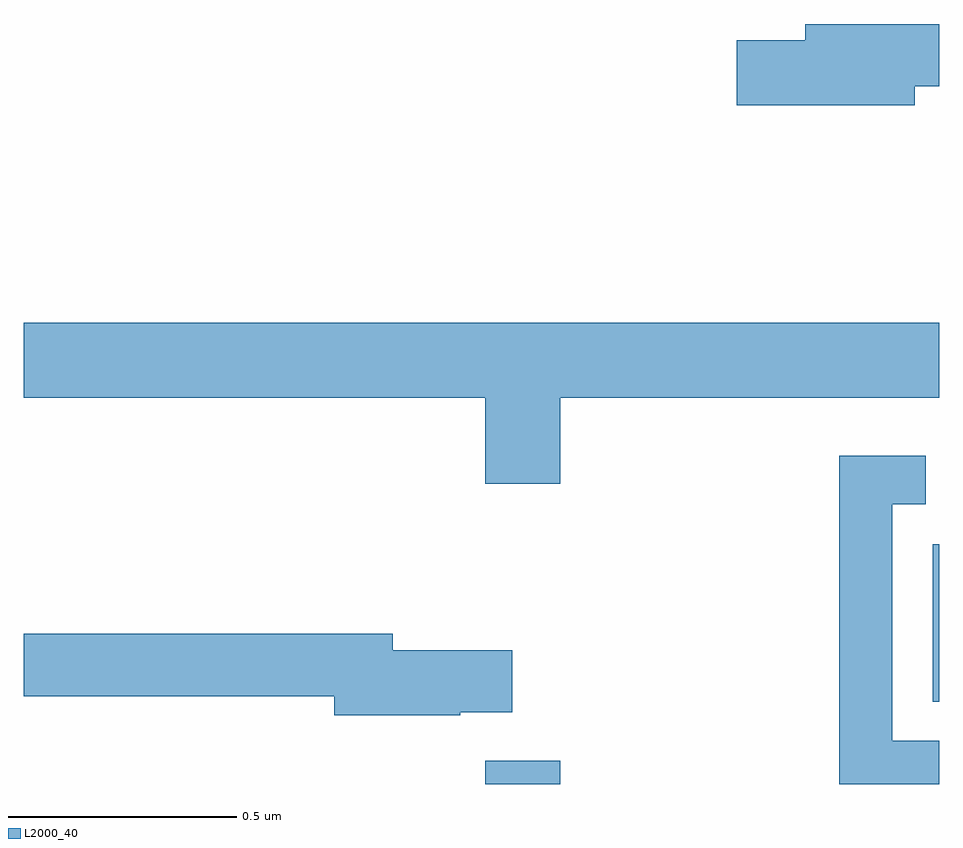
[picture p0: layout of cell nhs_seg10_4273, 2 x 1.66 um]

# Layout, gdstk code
import gdstk
lib = gdstk.Library(unit=1e-6, precision=1e-09)
def R(c, l, rs):  # rectangles x0, y0, x1, y1
    for r in rs: c.add(gdstk.rectangle(r[:2], r[2:], *l))
def P(c, l, *ps):  # polygons
    for p in ps: c.add(gdstk.Polygon(p, *l))
L2000_40 = (2000, 40)

nhs_seg10_4273 = lib.new_cell('nhs_seg10_4273')
R(nhs_seg10_4273, L2000_40, [(165.008,1271.5,165.172,1271.551), (165.986,1271.68,166,1272.024)])
P(nhs_seg10_4273, L2000_40, [(165.946,1273.024),(166,1273.024),(166,1273.16),(165.707,1273.16),(165.707,1273.124),(165.558,1273.124),(165.558,1272.982),(165.946,1272.982)],
  [(165.172,1272.344),(166,1272.344),(166,1272.508),(164,1272.508),(164,1272.344),(165.008,1272.344),(165.008,1272.156),(165.172,1272.156)],
  [(166,1271.595),(165.897,1271.595),(165.897,1272.111),(165.97,1272.111),(165.97,1272.217),(165.781,1272.217),(165.781,1271.5),(166,1271.5)],
  [(164.954,1271.657),(165.067,1271.657),(165.067,1271.792),(164.806,1271.792),(164.806,1271.828),(164,1271.828),(164,1271.692),(164.678,1271.692),(164.678,1271.65),(164.954,1271.65)])

lib.write_gds('nhs_seg10_4273.gds')
